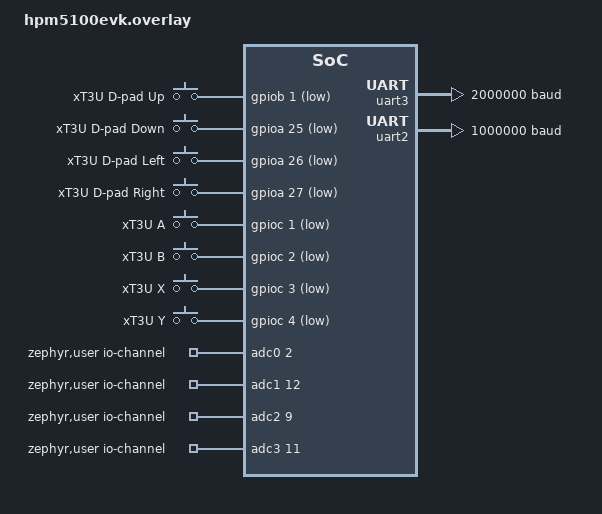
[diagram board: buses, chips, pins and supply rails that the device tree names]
/*
 * xT3U 当前已占用/保留的 I/O（HPM5100EVK，供后续分配引脚时查询）：
 *
 * 0. 启动 Flash 与调试下载
 *    - PA09：SPI0_DAT3；PA10：SPI0_SCLK；PA12：SPI0_DAT1；
 *      PA13：SPI0_DAT0；PA14：SPI0_DAT2；PA11：外部 NOR Flash 片选。
 *      这些脚由启动 Flash/XPI0 使用，不能复用。
 *    - D_TRST、D_TMS、D_TCK、D_TDO、D_TDI 为板载调试器使用的 JTAG 网络，
 *      不应分配给应用。
 *
 * 1. USB0（CherryUSB 设备控制器）
 *    - PB20：USB_DM，专用 USB PHY 焊盘。
 *    - PB21：USB_DP，专用 USB PHY 焊盘。
 *    - PB13：USB0_ID；PB14：USB0_PWR；PB15：USB0_OC。
 *      上述 3 个 USB 辅助控制脚由板级 pinctrl 配置，不应另作 GPIO。
 *
 * 2. 调试与板载基础功能
 *    - PA00：UART0_TXD；PA01：UART0_RXD，连接板载调试器，供 Zephyr
 *      console/printk 使用。
 *    - PA30：UART3_RXD；PA31：UART3_TXD，从 J7[9]/J7[10] 引出，
 *      作为 APP 主通信链路。
 *    - PY06：UART2_RXD；PY07：UART2_TXD，NS通信链路。PY07与WKUP
 *      按键侧电容相连，高波特率使用前需要确认波形。
 *    - PA15：板载用户按键 sw0（低有效）；短按用于手柄全键值上报，长按
 *      切换 USB 模式。
 *    - PA18：板载红色 LED（低有效）。
 *
 * 3. USB 音频（ES8389）
 *    - PA22：I2C2_SDA；PA23：I2C2_SCL，ES8389 寄存器控制总线。
 *    - PB04：I2S0_MCLK；PB09：I2S0_BCLK；PB10：I2S0_FCLK/LRCK。
 *    - PB00：I2S0_TXD_0，送往 ES8389 DSDIN；PB08：I2S0_RXD_3，
 *      来自 ES8389 ASDOUT。
 *
 * 4. USB SOF 时序测量
 *    - PC13：GPTMR0_CH1 比较输出，标记 USB SOF 处理入口。
 *    - PC11：GPIOC11/FGPIO 输出；GPTMR0_CH3 在 SOF 后 60 us 到期并进入
 *      已注册回调时，由回调的首个 GPIO 操作拉高该脚，用于记录回调实际进入
 *      的时间。PC11 不再输出 GPTMR0_CH3 的硬件比较器波形。
 *
 * 5. 四路摇杆 ADC 与校准
 *    - PC05：ADC0_IN02，左摇杆 X；PA24：ADC1_IN12，左摇杆 Y。
 *    - PB12：ADC2_IN09，右摇杆 X；PB11：ADC3_IN11，右摇杆 Y。
 *    - PC07：GPIOC07，临时摇杆校准按键，P1[15]，内部上拉、低电平有效。
 *
 * 6. 板级 DTS 已启用但 xT3U 当前没有业务使用的资源
 *    - PY03：I2C1_SCL；PY02：I2C1_SDA。
 *    - PC06：SPI3_CS；PC10：SPI3_SCLK；PC13：SPI3_MOSI；PC15：SPI3_MISO。
 *      其中 PC13 会在 xT3U 运行期改配为上面的 SOF 测量输出，不能使用 SPI3。
 *      若计划复用以上资源，须同时调整板级 DTS/pinctrl 和运行时代码，
 *      不能只修改此 overlay。
 */

/*
 * 产品工程把 USB0 交给 CherryUSB。test_io 不编 USB 栈，保持 disabled，
 * 否则会拉进 cherryusb_hpmicro.c（缺 usb_glue_hpm.h）。
 */
cherryusb_usb0: &usb0 {
	compatible = "hpmicro,hpm-cherryusb";
	status = "disabled";
};

&pinctrl {
	primary_uart3_pins: primary_uart3_pins {
		group0 {
			/* J7[9] 为 PA30/UART3_RXD，J7[10] 为 PA31/UART3_TXD。 */
			pinmux = <HPMICRO_PINMUX(HPMICRO_PIN(HPMICRO_PORTA, 30),
						 IOC_TYPE_IOC, 0, 2)>,
				 <HPMICRO_PINMUX(HPMICRO_PIN(HPMICRO_PORTA, 31),
						 IOC_TYPE_IOC, 0, 2)>;
		};
	};

	adc_sync_pins: adc_sync_pins {
		group0 {
				 /* PC05 = ADC0.IN02：左摇杆 X 轴。 */
			pinmux = <HPMICRO_PINMUX(HPMICRO_PIN(HPMICRO_PORTC, 5),
						 IOC_TYPE_IOC, 1, 0)>,
				 /* PA24 = ADC1.IN12：左摇杆 Y 轴。 */
				 <HPMICRO_PINMUX(HPMICRO_PIN(HPMICRO_PORTA, 24),
						 IOC_TYPE_IOC, 1, 0)>,
				 /* PB12 = ADC2.IN09：右摇杆 X 轴。 */
				 <HPMICRO_PINMUX(HPMICRO_PIN(HPMICRO_PORTB, 12),
						 IOC_TYPE_IOC, 1, 0)>,
				 /* PB11 = ADC3.IN11：右摇杆 Y 轴。 */
				 <HPMICRO_PINMUX(HPMICRO_PIN(HPMICRO_PORTB, 11),
						 IOC_TYPE_IOC, 1, 0)>;
		};
	};

	/*
	 * xT3U 已填写的直连按键：按键表已确认按下接地，使用内部上拉、低有效。
	 * 未在 XT3U_BUTTON_GPIO_MAP.md 中填写的按键不在本组中启用。
	 */
	pinmux_xt3u_button_gpioa: pinmux_xt3u_button_gpioa {
		group0 {
			pinmux = <HPMICRO_PINMUX(HPMICRO_PIN(HPMICRO_PORTA, 25),
						 IOC_TYPE_IOC, 0, 0)>,
				 <HPMICRO_PINMUX(HPMICRO_PIN(HPMICRO_PORTA, 26),
						 IOC_TYPE_IOC, 0, 0)>,
				 <HPMICRO_PINMUX(HPMICRO_PIN(HPMICRO_PORTA, 27),
						 IOC_TYPE_IOC, 0, 0)>;
			input-enable;
			input-schmitt-enable;
			bias-pull-up;
		};
	};

	pinmux_xt3u_button_gpiob: pinmux_xt3u_button_gpiob {
		group0 {
			pinmux = <HPMICRO_PINMUX(HPMICRO_PIN(HPMICRO_PORTB, 1),
						 IOC_TYPE_IOC, 0, 0)>;
			input-enable;
			input-schmitt-enable;
			bias-pull-up;
		};
	};

	pinmux_xt3u_button_gpioc: pinmux_xt3u_button_gpioc {
		group0 {
			pinmux = <HPMICRO_PINMUX(HPMICRO_PIN(HPMICRO_PORTC, 1),
						 IOC_TYPE_IOC, 0, 0)>,
				 <HPMICRO_PINMUX(HPMICRO_PIN(HPMICRO_PORTC, 2),
						 IOC_TYPE_IOC, 0, 0)>,
				 <HPMICRO_PINMUX(HPMICRO_PIN(HPMICRO_PORTC, 3),
						 IOC_TYPE_IOC, 0, 0)>,
				 <HPMICRO_PINMUX(HPMICRO_PIN(HPMICRO_PORTC, 4),
						 IOC_TYPE_IOC, 0, 0)>;
			input-enable;
			input-schmitt-enable;
			bias-pull-up;
			keeper-capability-disable;
		};
	};
};

/*
 * HPM pinctrl 只应用 pinctrl-0 第一个 phandle 的 group。
 * 不能写成 <&pinmux_gpioa &pinmux_xt3u_button_gpioa>，否则 PA25–27 不生效。
 */
&pinmux_gpioa {
	group_xt3u {
		pinmux = <HPMICRO_PINMUX(HPMICRO_PIN(HPMICRO_PORTA, 25),
					 IOC_TYPE_IOC, 0, 0)>,
			 <HPMICRO_PINMUX(HPMICRO_PIN(HPMICRO_PORTA, 26),
					 IOC_TYPE_IOC, 0, 0)>,
			 <HPMICRO_PINMUX(HPMICRO_PIN(HPMICRO_PORTA, 27),
					 IOC_TYPE_IOC, 0, 0)>;
		input-enable;
		input-schmitt-enable;
		bias-pull-up;
	};
};

&gpiob {
	status = "okay";
	pinctrl-0 = <&pinmux_xt3u_button_gpiob>;
	pinctrl-names = "default";
};

/* gpioc 默认 disabled；PC01-PC04 按键启用后需要打开该控制器。 */
&gpioc {
	status = "okay";
	pinctrl-0 = <&pinmux_xt3u_button_gpioc>;
	pinctrl-names = "default";
};

/*
 * 已填写的 xT3U 产品按键。电气属性与 XT3U_BUTTON_GPIO_MAP.md 一致：
 * 松开=高电平，按下=低电平，内部上拉。
 */
/ {
	xt3u_buttons: xt3u_buttons {
		compatible = "gpio-keys";

		xt3u_button_up: up {
			gpios = <&gpiob 1 (GPIO_PULL_UP | GPIO_ACTIVE_LOW)>;
			label = "xT3U D-pad Up";
		};

		xt3u_button_down: down {
			gpios = <&gpioa 25 (GPIO_PULL_UP | GPIO_ACTIVE_LOW)>;
			label = "xT3U D-pad Down";
		};

		xt3u_button_left: left {
			gpios = <&gpioa 26 (GPIO_PULL_UP | GPIO_ACTIVE_LOW)>;
			label = "xT3U D-pad Left";
		};

		xt3u_button_right: right {
			gpios = <&gpioa 27 (GPIO_PULL_UP | GPIO_ACTIVE_LOW)>;
			label = "xT3U D-pad Right";
		};

		xt3u_button_a: button_a {
			gpios = <&gpioc 1 (GPIO_PULL_UP | GPIO_ACTIVE_LOW)>;
			label = "xT3U A";
		};

		xt3u_button_b: button_b {
			gpios = <&gpioc 2 (GPIO_PULL_UP | GPIO_ACTIVE_LOW)>;
			label = "xT3U B";
		};

		xt3u_button_x: button_x {
			gpios = <&gpioc 3 (GPIO_PULL_UP | GPIO_ACTIVE_LOW)>;
			label = "xT3U X";
		};

		xt3u_button_y: button_y {
			gpios = <&gpioc 4 (GPIO_PULL_UP | GPIO_ACTIVE_LOW)>;
			label = "xT3U Y";
		};
	};
};

/* C 代码通过 aliases 获取按键 GPIO，与 USB 协议层保持解耦。 */
/ {
	aliases {
		xt3u-button-up = &xt3u_button_up;
		xt3u-button-down = &xt3u_button_down;
		xt3u-button-left = &xt3u_button_left;
		xt3u-button-right = &xt3u_button_right;
		xt3u-button-a = &xt3u_button_a;
		xt3u-button-b = &xt3u_button_b;
		xt3u-button-x = &xt3u_button_x;
		xt3u-button-y = &xt3u_button_y;
	};
};

/ {
	aliases {
		/* 业务只使用链路名，后续换UART实例时不用修改C代码。 */
		xt3u-primary-uart = &uart3;
		xt3u-ns-uart = &uart2;
	};

	zephyr,user {
		/*
		 * adc_sync 帧中的通道顺序：
		 *   raw[0] = PC05 / ADC0 通道 2  / 左摇杆 X 轴
		 *   raw[1] = PA24 / ADC1 通道 12 / 左摇杆 Y 轴
		 *   raw[2] = PB12 / ADC2 通道 9  / 右摇杆 X 轴
		 *   raw[3] = PB11 / ADC3 通道 11 / 右摇杆 Y 轴
		 */
		io-channels = <&adc0 2>, <&adc1 12>, <&adc2 9>, <&adc3 11>;
		pinctrl-0 = <&adc_sync_pins>;
		pinctrl-names = "default";
	};
};

/* APP主通信链路：J7[9] PA30 RX / J7[10] PA31 TX。 */
&uart3 {
	status = "okay";
	current-speed = <2000000>;
	pinctrl-0 = <&primary_uart3_pins>;
	pinctrl-names = "default";
	/* HDMA0：RX 使用通道 2/UART3_RX(0x0e)，TX 使用通道 3/UART3_TX(0x0f)。 */
	dmas = <&hdma 2 0x0e>, <&hdma 3 0x0f>;
	dma-names = "rx", "tx";
};

/* NS链路：PY06 RX / PY07 TX。协议内容由NS模块负责。 */
&uart2 {
	status = "okay";
	current-speed = <1000000>;
	pinctrl-0 = <&pinmux_uart2>;
	pinctrl-names = "default";
	/* HDMA0：RX 使用通道 4/UART2_RX(0x0c)，TX 使用通道 5/UART2_TX(0x0d)。 */
	dmas = <&hdma 4 0x0c>, <&hdma 5 0x0d>;
	dma-names = "rx", "tx";
};

/*
 * HDMA0 由项目内 uart_transport 直接管理，Zephyr 公共 DMA 驱动不实例化。
 * UART0 的 console 仍使用轮询方式，不占用它在板级 DTS 中预留的 ch0/ch1。
 */
&hdma {
	status = "disabled";
};

/*
 * Zephyr 默认 RAM 放到 128 KB DLM(DTCM)；只有 CherryUSB/audio 的 DMA
 * .nocache 段继续放在 32 KB HRAM(AHB SRAM)。当 RAM 与 DTCM 地址重合时，
 * HPM 链接脚本会把启动栈放在默认 RAM 区域，避免内存区域重叠。
 */
/ {
	chosen {
		zephyr,sram = &dlm;
	};
};
